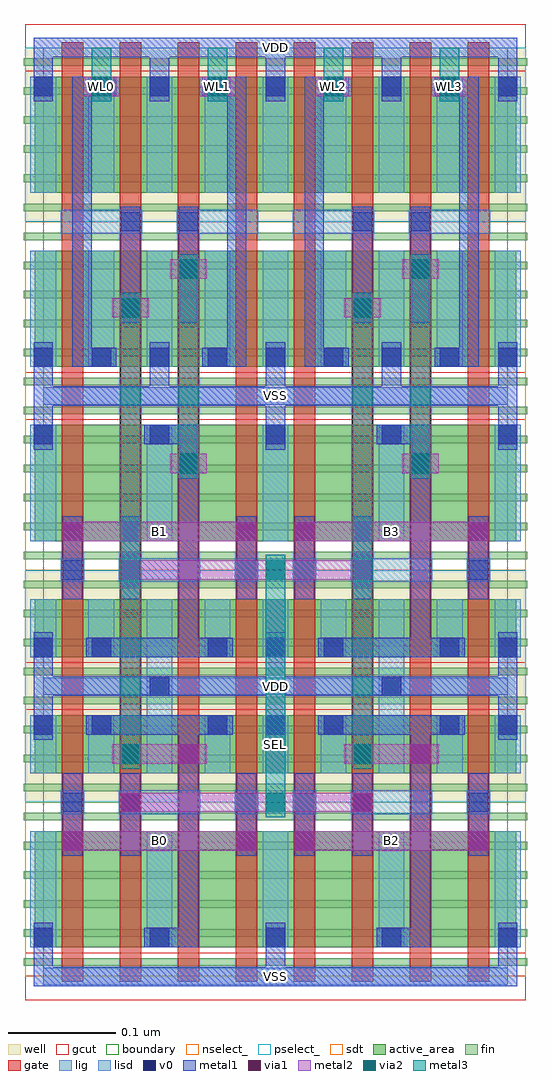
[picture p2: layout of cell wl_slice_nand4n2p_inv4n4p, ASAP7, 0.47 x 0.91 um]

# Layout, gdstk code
from math import pi, radians
import gdstk
lib = gdstk.Library(unit=1e-6, precision=1e-10)
def R(c, l, rs):  # rectangles x0, y0, x1, y1
    for r in rs: c.add(gdstk.rectangle(r[:2], r[2:], *l))
def A(c, l, x, y, w, h, nx, ny, dx, dy):  # array of equal rectangles
    R(c, l, [(x+i*dx, y+j*dy, x+i*dx+w, y+j*dy+h) for i in range(nx) for j in range(ny)])
well = (1, 0)
fin = (2, 0)
gate = (7, 0)
gcut = (10, 0)
active_area = (11, 0)
nselect_ = (12, 0)
pselect_ = (13, 0)
lig = (16, 0)
lisd = (17, 0)
v0 = (18, 0)
metal1 = (19, 0)
metal2 = (20, 0)
via1 = (21, 0)
via2 = (25, 0)
metal3 = (30, 0)
sdt = (88, 0)
boundary = (100, 0)

wl_slice_nand4n2p_inv4n4 = lib.new_cell('wl_slice_nand4n2p_inv4n4p__nand')
R(wl_slice_nand4n2p_inv4n4, well, [(-0.017,0.162,0.233,0.27)])
A(wl_slice_nand4n2p_inv4n4, fin, -0.018, 0.01, 0.252, 0.007, 1, 10, 0, 0.027)
A(wl_slice_nand4n2p_inv4n4, gate, 0.017, -0.005, 0.02, 0.28, 4, 1, 0.054, 0)
R(wl_slice_nand4n2p_inv4n4, gcut, [(-0.017,-0.022,0.233,0.022), (-0.017,0.248,0.233,0.292)])
R(wl_slice_nand4n2p_inv4n4, active_area, [(-0.008,0.027,0.224,0.135), (-0.008,0.189,0.224,0.243)])
R(wl_slice_nand4n2p_inv4n4, nselect_, [(-0.017,0,0.233,0.162)])
R(wl_slice_nand4n2p_inv4n4, pselect_, [(-0.017,0.162,0.233,0.27)])
R(wl_slice_nand4n2p_inv4n4, lig, [(0,-0.008,0.216,0.008), (0.016,0.151,0.038,0.173), (0.07,0.151,0.146,0.173), (0.178,0.151,0.2,0.173), (0,0.262,0.216,0.278)])
A(wl_slice_nand4n2p_inv4n4, lisd, -0.012, 0.027, 0.024, 0.108, 3, 1, 0.108, 0)
A(wl_slice_nand4n2p_inv4n4, lisd, -0.012, 0.189, 0.024, 0.054, 5, 1, 0.054, 0)
R(wl_slice_nand4n2p_inv4n4, lisd, [(0.096,0.189,0.12,0.27)])
A(wl_slice_nand4n2p_inv4n4, v0, -0.009, 0.027, 0.018, 0.018, 3, 1, 0.108, 0)
R(wl_slice_nand4n2p_inv4n4, v0, [(0.018,0.153,0.036,0.171), (0.072,0.153,0.09,0.171), (0.18,0.153,0.198,0.171), (-0.009,0.225,0.009,0.243), (0.045,0.225,0.063,0.243), (0.153,0.225,0.171,0.243), (0.207,0.225,0.225,0.243), (0.099,0.261,0.117,0.279)])
R(wl_slice_nand4n2p_inv4n4, metal1, [(-0.009,-0.009,0.009,0.05), (0,-0.009,0.216,0.009), (0.207,-0.009,0.225,0.05), (0.094,0.027,0.144,0.045), (0.126,0.027,0.144,0.243), (0.018,0.112,0.036,0.189), (0.072,0.112,0.09,0.189), (0.18,0.112,0.198,0.189), (-0.009,0.22,0.009,0.279), (0.207,0.22,0.225,0.279), (0.04,0.225,0.176,0.243), (0,0.261,0.216,0.279)])
R(wl_slice_nand4n2p_inv4n4, metal2, [(0.018,0.117,0.198,0.135)])
R(wl_slice_nand4n2p_inv4n4, via1, [(0.018,0.117,0.036,0.135), (0.18,0.117,0.198,0.135)])
A(wl_slice_nand4n2p_inv4n4, sdt, -0.012, 0.027, 0.024, 0.108, 3, 1, 0.108, 0)
A(wl_slice_nand4n2p_inv4n4, sdt, -0.012, 0.189, 0.024, 0.054, 5, 1, 0.054, 0)
R(wl_slice_nand4n2p_inv4n4, boundary, [(0,0,0.216,0.27)])

c_wl_slice_nand4n2p_inv4n4 = lib.new_cell('wl_slice_nand4n2p_inv4n4p__inv')
R(c_wl_slice_nand4n2p_inv4n4, well, [(-0.017,0.162,0.179,0.324)])
A(c_wl_slice_nand4n2p_inv4n4, fin, -0.018, 0.01, 0.198, 0.007, 1, 12, 0, 0.027)
A(c_wl_slice_nand4n2p_inv4n4, gate, 0.017, -0.005, 0.02, 0.334, 3, 1, 0.054, 0)
R(c_wl_slice_nand4n2p_inv4n4, gcut, [(-0.017,-0.022,0.179,0.022), (-0.017,0.302,0.179,0.346)])
R(c_wl_slice_nand4n2p_inv4n4, active_area, [(-0.008,0.027,0.17,0.135), (-0.008,0.189,0.17,0.297)])
R(c_wl_slice_nand4n2p_inv4n4, nselect_, [(-0.017,0,0.179,0.162)])
R(c_wl_slice_nand4n2p_inv4n4, pselect_, [(-0.017,0.162,0.179,0.324)])
R(c_wl_slice_nand4n2p_inv4n4, lig, [(0.016,0.151,0.092,0.173)])
A(c_wl_slice_nand4n2p_inv4n4, lisd, -0.012, 0.027, 0.024, 0.108, 3, 2, 0.054, 0.162)
A(c_wl_slice_nand4n2p_inv4n4, v0, -0.009, 0.027, 0.018, 0.018, 3, 2, 0.054, 0.252)
R(c_wl_slice_nand4n2p_inv4n4, v0, [(0.072,0.153,0.09,0.171)])
R(c_wl_slice_nand4n2p_inv4n4, metal1, [(-0.009,-0.009,0.009,0.05), (0,-0.009,0.162,0.009), (0.099,-0.009,0.117,0.05), (0.027,0.027,0.045,0.297), (0.027,0.027,0.068,0.045), (0.072,0.068,0.09,0.176), (-0.009,0.274,0.009,0.333), (0.099,0.274,0.117,0.333), (0.027,0.279,0.068,0.297), (0,0.315,0.162,0.333)])
A(c_wl_slice_nand4n2p_inv4n4, sdt, -0.012, 0.027, 0.024, 0.108, 3, 2, 0.054, 0.162)
R(c_wl_slice_nand4n2p_inv4n4, boundary, [(0,0,0.162,0.324)])

c_wl_slice_nand4n2p_inv4n4_ = lib.new_cell('wl_slice_nand4n2p_inv4n4p')
A(c_wl_slice_nand4n2p_inv4n4_, metal2, 0.037, 0.819, 0.034, 0.018, 4, 1, 0.108, 0)
R(c_wl_slice_nand4n2p_inv4n4_, metal2, [(0.072,0.153,0.306,0.171), (0.064,0.198,0.152,0.216), (0.28,0.198,0.368,0.216), (0.072,0.369,0.306,0.387), (0.118,0.468,0.152,0.486), (0.334,0.468,0.368,0.486), (0.064,0.613,0.098,0.631), (0.28,0.613,0.314,0.631), (0.118,0.649,0.152,0.667), (0.334,0.649,0.368,0.667)])
A(c_wl_slice_nand4n2p_inv4n4_, via1, 0.045, 0.819, 0.018, 0.018, 4, 1, 0.108, 0)
R(c_wl_slice_nand4n2p_inv4n4_, via1, [(0.072,0.153,0.09,0.171), (0.288,0.153,0.306,0.171), (0.126,0.198,0.144,0.216), (0.342,0.198,0.36,0.216), (0.072,0.369,0.09,0.387), (0.288,0.369,0.306,0.387), (0.126,0.468,0.144,0.486), (0.342,0.468,0.36,0.486), (0.072,0.613,0.09,0.631), (0.288,0.613,0.306,0.631), (0.126,0.649,0.144,0.667), (0.342,0.649,0.36,0.667)])
A(c_wl_slice_nand4n2p_inv4n4_, via2, 0.045, 0.819, 0.018, 0.018, 4, 1, 0.108, 0)
R(c_wl_slice_nand4n2p_inv4n4_, via2, [(0.207,0.153,0.225,0.171), (0.072,0.198,0.09,0.216), (0.288,0.198,0.306,0.216), (0.207,0.369,0.225,0.387), (0.126,0.468,0.144,0.486), (0.342,0.468,0.36,0.486), (0.072,0.613,0.09,0.631), (0.288,0.613,0.306,0.631), (0.126,0.649,0.144,0.667), (0.342,0.649,0.36,0.667)])
A(c_wl_slice_nand4n2p_inv4n4_, metal3, 0.045, 0.814, 0.018, 0.05, 4, 1, 0.108, 0)
R(c_wl_slice_nand4n2p_inv4n4_, metal3, [(0.207,0.148,0.225,0.392), (0.072,0.193,0.09,0.636), (0.288,0.193,0.306,0.636), (0.126,0.463,0.144,0.672), (0.342,0.463,0.36,0.672)])
R(c_wl_slice_nand4n2p_inv4n4_, boundary, [(0,0,0.432,0.864)])
c_wl_slice_nand4n2p_inv4n4_.add(gdstk.Reference(wl_slice_nand4n2p_inv4n4, (0,0)))
c_wl_slice_nand4n2p_inv4n4_.add(gdstk.Reference(wl_slice_nand4n2p_inv4n4, (0,0.54), x_reflection=True))
c_wl_slice_nand4n2p_inv4n4_.add(gdstk.Reference(wl_slice_nand4n2p_inv4n4, (0.216,0)))
c_wl_slice_nand4n2p_inv4n4_.add(gdstk.Reference(wl_slice_nand4n2p_inv4n4, (0.216,0.54), x_reflection=True))
c_wl_slice_nand4n2p_inv4n4_.add(gdstk.Reference(c_wl_slice_nand4n2p_inv4n4, (0,0.54)))
c_wl_slice_nand4n2p_inv4n4_.add(gdstk.Reference(c_wl_slice_nand4n2p_inv4n4, (0.216,0.54), rotation=pi, x_reflection=True))
c_wl_slice_nand4n2p_inv4n4_.add(gdstk.Reference(c_wl_slice_nand4n2p_inv4n4, (0.216,0.54)))
c_wl_slice_nand4n2p_inv4n4_.add(gdstk.Reference(c_wl_slice_nand4n2p_inv4n4, (0.432,0.54), rotation=pi, x_reflection=True))
c_wl_slice_nand4n2p_inv4n4_.add(gdstk.Label('SEL', (0.216,0.216), layer=30, texttype=251))
c_wl_slice_nand4n2p_inv4n4_.add(gdstk.Label('B0', (0.108,0.126), layer=20, texttype=251))
c_wl_slice_nand4n2p_inv4n4_.add(gdstk.Label('B1', (0.108,0.414), layer=20, texttype=251))
c_wl_slice_nand4n2p_inv4n4_.add(gdstk.Label('B2', (0.324,0.126), layer=20, texttype=251))
c_wl_slice_nand4n2p_inv4n4_.add(gdstk.Label('B3', (0.324,0.414), layer=20, texttype=251))
c_wl_slice_nand4n2p_inv4n4_.add(gdstk.Label('WL0', (0.054,0.828), layer=30, texttype=251))
c_wl_slice_nand4n2p_inv4n4_.add(gdstk.Label('WL1', (0.162,0.828), layer=30, texttype=251))
c_wl_slice_nand4n2p_inv4n4_.add(gdstk.Label('WL2', (0.27,0.828), layer=30, texttype=251))
c_wl_slice_nand4n2p_inv4n4_.add(gdstk.Label('WL3', (0.378,0.828), layer=30, texttype=251))
c_wl_slice_nand4n2p_inv4n4_.add(gdstk.Label('VSS', (0.216,0), layer=19, texttype=251))
c_wl_slice_nand4n2p_inv4n4_.add(gdstk.Label('VDD', (0.216,0.27), layer=19, texttype=251))
c_wl_slice_nand4n2p_inv4n4_.add(gdstk.Label('VSS', (0.216,0.54), layer=19, texttype=251))
c_wl_slice_nand4n2p_inv4n4_.add(gdstk.Label('VDD', (0.216,0.864), layer=19, texttype=251))

lib.write_gds('wl_slice_nand4n2p_inv4n4p.gds')
